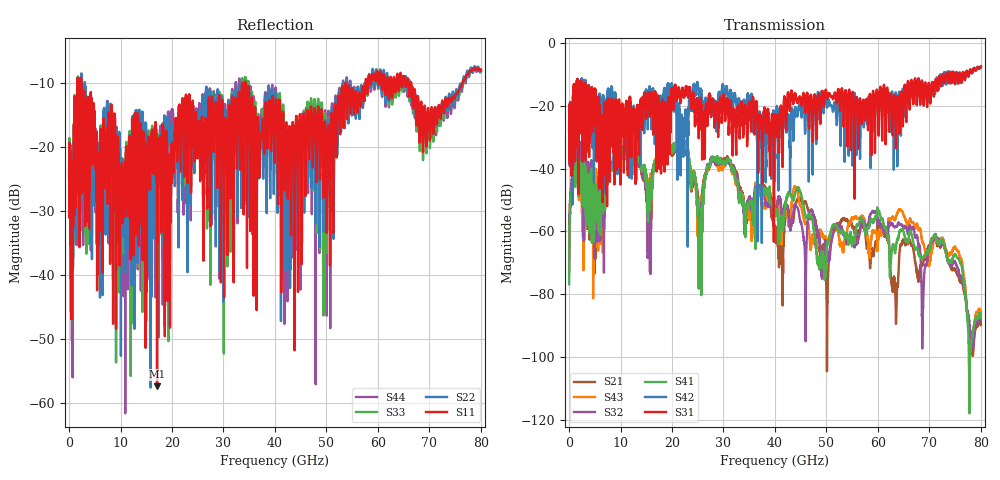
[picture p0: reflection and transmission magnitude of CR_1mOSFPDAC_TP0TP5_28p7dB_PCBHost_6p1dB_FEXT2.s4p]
!! Reference: shanbhag_3dj_01_2305.pdf
!! CHANNEL DESCRIPTION: TP0_TP5 CR Channel using 1meter DAC, PCB Host
!! MODEL DESCRIPTION: s4p, FEXT2
!! CONNECTOR DESCRIPTION: OSFP 200G SMT
!! CABLE DESCRIPTION: 1meter 26AWG Cable
!! MODEL STATUS: Developmental
!! PORT DEFINITIONS:
!! Port  1  ----->  Side A  Side B  <-----  Port  2
!! Port  3  ----->  Side A  Side B  <-----  Port  4
# HZ S MA R 50.000000
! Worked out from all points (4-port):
!   8000 points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, 10 MHz to 80 GHz, reference 50 ohm
!   strongest paths, dB at 10 MHz, 20.01 GHz, 40.01 GHz, 60.01 GHz, 80 GHz:
!     S31: -27.5, -14.4, -24.1, -19.3, -7.3
!     S42: -27.5, -13.1, -36.3, -21.4, -7.6
!     S41: -76.8, -34.5, -53.5, -54.0, -87.5
!     S32: -67.7, -35.0, -52.1, -56.3, -88.1
!     S43: -72.9, -34.9, -49.7, -63.1, -86.6
!     S21: -65.8, -35.6, -59.3, -59.9, -89.9
!   lowest |S11| = -57.4 dB at 17.09 GHz (marker M1), VSWR 1.00, Z = 50.1 - j0.102 ohm
!   |S11| at or under -10 dB: 2.364 GHz to 33.61 GHz (31.24 GHz wide, 174 % of centre); 34.3 GHz to 53.7 GHz (19.4 GHz wide, 44.1 % of centre); 66.5 GHz to 76.39 GHz (9.889 GHz wide, 13.8 % of centre) (the widest 3 of 21)
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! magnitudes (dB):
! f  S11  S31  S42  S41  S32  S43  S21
! 10 MHz  -24.8  -27.5  -27.5  -76.8  -67.7  -72.9  -65.8
! 1.22 GHz  -19.3  -17.0  -16.0  -41.1  -37.5  -38.5  -38.9
! 17.09 GHz  -57.4  -23.7  -16.7  -34.8  -35.0  -34.6  -35.5
! 25.4 GHz  -19.5  -20.8  -16.5  -62.5  -67.0  -50.9  -58.0
! 31 GHz  -14.5  -29.2  -19.6  -37.3  -37.7  -37.9  -36.9
! 50.08 GHz  -29.7  -16.8  -20.3  -64.8  -65.8  -62.8  -91.9
! 80 GHz  -8.0  -7.3  -7.6  -87.5  -88.1  -86.6  -89.9
